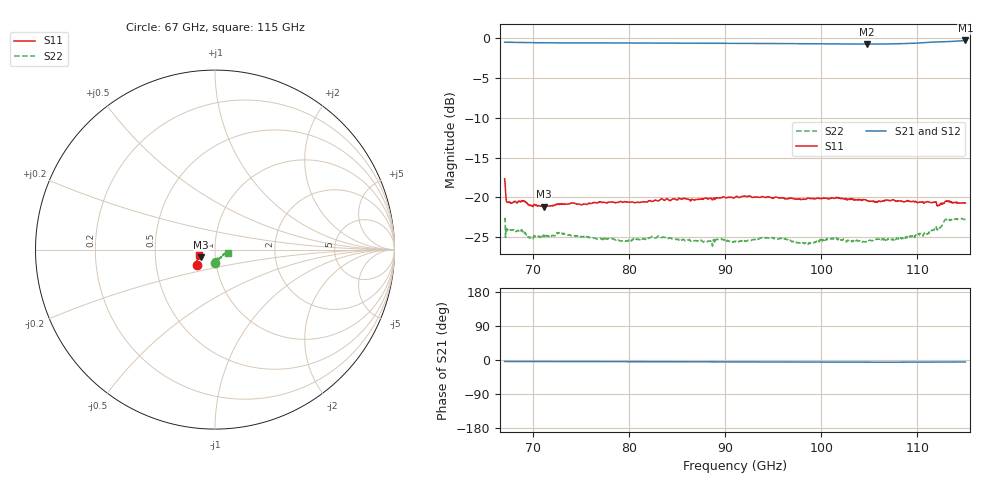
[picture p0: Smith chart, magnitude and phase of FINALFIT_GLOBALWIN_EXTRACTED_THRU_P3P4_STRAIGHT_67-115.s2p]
! Generated by Phase I extraction
# Hz S RI R 50
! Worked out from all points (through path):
!   1001 points, 67 GHz to 115 GHz, reference 50 ohm
!   highest |S21| = -0.33 dB at 115 GHz (marker M1); lowest = -0.8 dB at 104.7 GHz (marker M2)
!   lowest |S11| = -21.2 dB at 71.08 GHz (marker M3), VSWR 1.19, Z = 42.7 - j3.61 ohm
!   |S11| at or under -10 dB: start of sweep to end of sweep
!   |S22| runs from -26.1 to -22.6 dB; largest |S21 - S12| = 0.0099
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6.7e10  -0.099 -0.0858  0.9367 -0.0629  0.9362 -0.0653  0.00124 -0.0723
6.7336e10  -0.0792 -0.0489  0.9358 -0.0628  0.9353 -0.0655  -0.0105 -0.0624
6.7432e10  -0.0796 -0.0495  0.9356 -0.0628  0.935 -0.0655  -0.00807 -0.0618
6.8968e10  -0.0816 -0.0484  0.9322 -0.0629  0.9312 -0.0666  -0.00842 -0.0594
6.9736e10  -0.0777 -0.0432  0.9309 -0.0631  0.9296 -0.0673  -0.00824 -0.0554
7.108e10  -0.0769 -0.0419  0.9289 -0.0637  0.9273 -0.0688  -0.00641 -0.0568
7.2712e10  -0.0807 -0.0404  0.9274 -0.0648  0.9252 -0.0708  -0.00649 -0.0592
7.5016e10  -0.0802 -0.041  0.9268 -0.0667  0.9237 -0.0733  -0.000958 -0.057
7.9624e10  -0.0837 -0.0423  0.926 -0.0712  0.9219 -0.0783  0.000913 -0.0535
8.3032e10  -0.085 -0.043  0.924 -0.0743  0.9199 -0.0818  0.00915 -0.0566
8.788e10  -0.0889 -0.0435  0.9207 -0.0787  0.9167 -0.086  0.015 -0.0506
8.9512e10  -0.0908 -0.041  0.9199 -0.0803  0.9159 -0.0877  0.0161 -0.0528
9.1e10  -0.0912 -0.0417  0.9193 -0.0817  0.9151 -0.0893  0.0177 -0.0499
9.4984e10  -0.0912 -0.0379  0.9171 -0.0856  0.9132 -0.0932  0.0261 -0.0495
9.9016e10  -0.0901 -0.0399  0.9142 -0.0901  0.911 -0.0976  0.0304 -0.0424
1.0132e11  -0.0908 -0.0383  0.9116 -0.0924  0.9085 -0.1007  0.034 -0.0436
1.04728e11  -0.0888 -0.036  0.9089 -0.0938  0.9056 -0.1031  0.0396 -0.0349
1.07032e11  -0.0885 -0.0363  0.9111 -0.0933  0.908 -0.1023  0.046 -0.0291
1.11064e11  -0.0904 -0.0263  0.9325 -0.0887  0.9314 -0.0947  0.0544 -0.023
1.12264e11  -0.0854 -0.0268  0.9391 -0.0897  0.9385 -0.0952  0.0606 -0.0196
1.1308e11  -0.0889 -0.0313  0.9425 -0.0905  0.9419 -0.0958  0.0688 -0.0225
1.15e11  -0.0874 -0.0298  0.9589 -0.087  0.9583 -0.0896  0.0702 -0.0205
